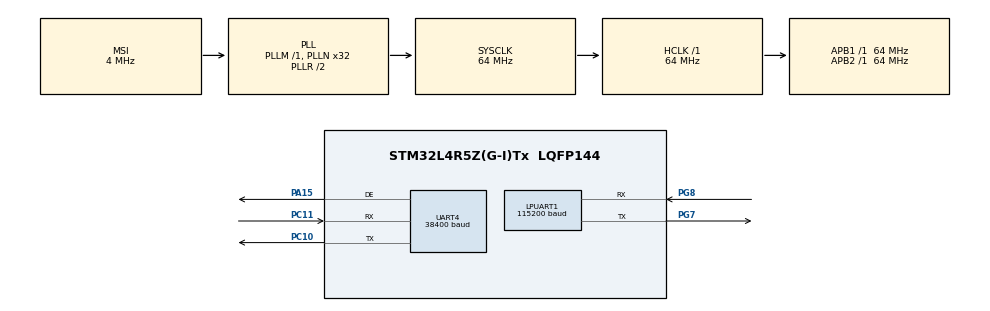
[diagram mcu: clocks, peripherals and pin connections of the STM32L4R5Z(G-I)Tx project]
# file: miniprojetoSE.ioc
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Mcu.Family=STM32L4
RCC.MSI_VALUE=4000000
PG8.Mode=Asynchronous
FREERTOS.Queues01=SR_Queue,64,1,1,Dynamic,NULL,NULL;BT_Queue,64,1,1,Dynamic,NULL,NULL
VP_SYS_VS_tim6.Mode=TIM6
RCC.CortexFreq_Value=64000000
FREERTOS.Tasks01=TransmitTask_Se,24,128,StartTransmitTask_Serial,Default,NULL,Dynamic,NULL,NULL;TransmitTask_BT,8,128,StartTransmitTask_BT,Default,NULL,Dynamic,NULL,NULL;PingTask,8,128,StartPingTask,Default,NULL,Dynamic,NULL,NULL
PG7.Signal=LPUART1_TX
NVIC.DMA1_Channel5_IRQn=true\:5\:0\:false\:false\:true\:false\:false\:true
PA13\ (JTMS/SWDIO).Mode=Trace_Asynchronous_SW
NVIC.TIM6_DAC_IRQn=true\:0\:0\:false\:false\:true\:false\:false\:true
PG8.Signal=LPUART1_RX
Dma.LPUART1_RX.0.RequestNumber=1
PC11.Signal=UART4_RX
PC10.Signal=UART4_TX
Dma.LPUART1_RX.0.MemDataAlignment=DMA_MDATAALIGN_BYTE
PC10.Mode=Asynchronous
LPUART1.WordLength=UART_WORDLENGTH_8B
PA15\ (JTDI).Signal=UART4_DE
Dma.LPUART1_RX.0.Direction=DMA_PERIPH_TO_MEMORY
Dma.LPUART1_RX.0.Instance=DMA1_Channel5
RCC.SYSCLKSource=RCC_SYSCLKSOURCE_PLLCLK
ProjectManager.StackSize=0x400
Dma.LPUART1_RX.0.PeriphInc=DMA_PINC_DISABLE
VP_FREERTOS_VS_CMSIS_V2.Mode=CMSIS_V2
PA15\ (JTDI).Mode=Hardware Flow Control (RS485)
PA14\ (JTCK/SWCLK).Signal=SYS_JTCK-SWCLK
PB3\ (JTDO/TRACESWO).Signal=SYS_JTDO-SWO
ProjectManager.TargetToolchain=STM32CubeIDE
UART4.BaudRate=38400
RCC.HCLKFreq_Value=64000000
RCC.APB2TimFreq_Value=64000000
PG7.Mode=Asynchronous
RCC.LSE_VALUE=32768
RCC.AHBFreq_Value=64000000
Dma.LPUART1_RX.0.PeriphDataAlignment=DMA_PDATAALIGN_BYTE
Dma.LPUART1_RX.0.Polarity=HAL_DMAMUX_REQUEST_GEN_RISING
RCC.HSE_VALUE=8000000
board=custom
RCC.VCOOutputFreq_Value=128000000
Dma.LPUART1_RX.0.MemInc=DMA_MINC_ENABLE
Dma.LPUART1_RX.0.SyncRequestNumber=1
Dma.LPUART1_RX.0.SyncPolarity=HAL_DMAMUX_SYNC_NO_EVENT
Dma.LPUART1_RX.0.SyncEnable=DISABLE
RCC.APB2Freq_Value=64000000
PA14\ (JTCK/SWCLK).Mode=Trace_Asynchronous_SW
Dma.LPUART1_RX.0.Priority=DMA_PRIORITY_LOW
Dma.LPUART1_RX.0.EventEnable=DISABLE
Mcu.Name=STM32L4R5Z(G-I)Tx
LPUART1.BaudRate=115200
RCC.SYSCLKFreq_VALUE=64000000
Mcu.Package=LQFP144
Dma.LPUART1_RX.0.Mode=DMA_CIRCULAR
NVIC.TimeBase=TIM6_DAC_IRQn
NVIC.TimeBaseIP=TIM6
Dma.LPUART1_RX.0.SignalID=NONE
ProjectManager.HeapSize=0x200
PC11.Mode=Asynchronous
RCC.HSI_VALUE=16000000
Dma.LPUART1_RX.0.SyncSignalID=NONE
NVIC.PriorityGroup=NVIC_PRIORITYGROUP_4
PB3\ (JTDO/TRACESWO).Mode=Trace_Asynchronous_SW
RCC.PLLN=32
RCC.APB1TimFreq_Value=64000000
Dma.Request0=LPUART1_RX
RCC.APB1Freq_Value=64000000
RCC.HSI48_VALUE=48000000
PA13\ (JTMS/SWDIO).Signal=SYS_JTMS-SWDIO
NVIC.UART4_IRQn=true\:5\:0\:false\:false\:true\:true\:true\:true

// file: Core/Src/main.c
/* USER CODE BEGIN Header */
/**
  ******************************************************************************
  * @file           : main.c
  * @brief          : Main program body
  ******************************************************************************
  * @attention
  *
  * <h2><center>&copy; Copyright (c) 2021 STMicroelectronics.
  * All rights reserved.</center></h2>
  *
  * This software component is licensed by ST under BSD 3-Clause license,
  * the "License"; You may not use this file except in compliance with the
  * License. You may obtain a copy of the License at:
  *                        opensource.org/licenses/BSD-3-Clause
  *
  ******************************************************************************
  */
/* USER CODE END Header */
#include "main.h"
#include "cmsis_os.h"

/* USER CODE BEGIN Includes */
#include <string.h>
#include <stdio.h>
/* USER CODE END Includes */

/* USER CODE BEGIN PD */
#define BUFFER_LEN 1
/* USER CODE END PD */

UART_HandleTypeDef hlpuart1;
UART_HandleTypeDef huart4;
DMA_HandleTypeDef hdma_lpuart1_rx;

/* Definitions for TransmitTask_Se */
osThreadId_t TransmitTask_SeHandle;
const osThreadAttr_t TransmitTask_Se_attributes = {
  .name = "TransmitTask_Se",
  .stack_size = 128 * 4,
  .priority = (osPriority_t) osPriorityNormal,
};
/* Definitions for TransmitTask_BT */
osThreadId_t TransmitTask_BTHandle;
const osThreadAttr_t TransmitTask_BT_attributes = {
  .name = "TransmitTask_BT",
  .stack_size = 128 * 4,
  .priority = (osPriority_t) osPriorityLow,
};
/* Definitions for PingTask */
osThreadId_t PingTaskHandle;
const osThreadAttr_t PingTask_attributes = {
  .name = "PingTask",
  .stack_size = 128 * 4,
  .priority = (osPriority_t) osPriorityLow,
};
/* Definitions for SR_Queue */
osMessageQueueId_t SR_QueueHandle;
const osMessageQueueAttr_t SR_Queue_attributes = {
  .name = "SR_Queue"
};
/* Definitions for BT_Queue */
osMessageQueueId_t BT_QueueHandle;
const osMessageQueueAttr_t BT_Queue_attributes = {
  .name = "BT_Queue"
};
/* USER CODE BEGIN PV */

uint8_t BT_BUFFER[BUFFER_LEN];
uint8_t SR_BUFFER[BUFFER_LEN] = "";

/* USER CODE END PV */

void SystemClock_Config(void);
static void MX_GPIO_Init(void);
static void MX_DMA_Init(void);
static void MX_LPUART1_UART_Init(void);
static void MX_UART4_Init(void);
void StartTransmitTask_Serial(void *argument);
void StartTransmitTask_BT(void *argument);
void StartPingTask(void *argument);

int main(void)
{

  /* MCU Configuration--------------------------------------------------------*/

  /* Reset of all peripherals, Initializes the Flash interface and the Systick. */
  HAL_Init();

  /* Configure the system clock */
  SystemClock_Config();

  /* Initialize all configured peripherals */
  MX_GPIO_Init();
  MX_DMA_Init();
  MX_LPUART1_UART_Init();
  MX_UART4_Init();
  /* USER CODE BEGIN 2 */
  HAL_UART_Receive_DMA (&hlpuart1, SR_BUFFER, BUFFER_LEN);
  HAL_UART_Receive_IT(&huart4, BT_BUFFER, BUFFER_LEN);

  /* USER CODE END 2 */

  /* Init scheduler */
  osKernelInitialize();

  /* Create the queue(s) */
  /* creation of SR_Queue */
  SR_QueueHandle = osMessageQueueNew (64, 1, &SR_Queue_attributes);

  /* creation of BT_Queue */
  BT_QueueHandle = osMessageQueueNew (64, 1, &BT_Queue_attributes);

  /* Create the thread(s) */
  /* creation of TransmitTask_Se */
  TransmitTask_SeHandle = osThreadNew(StartTransmitTask_Serial, NULL, &TransmitTask_Se_attributes);

  /* creation of TransmitTask_BT */
  TransmitTask_BTHandle = osThreadNew(StartTransmitTask_BT, NULL, &TransmitTask_BT_attributes);

  /* creation of PingTask */
  PingTaskHandle = osThreadNew(StartPingTask, NULL, &PingTask_attributes);

  /* Start scheduler */
  osKernelStart();

  /* We should never get here as control is now taken by the scheduler */
  /* Infinite loop */
  while (1)
  {

  }
}

void SystemClock_Config(void)
{
  RCC_OscInitTypeDef RCC_OscInitStruct = {0};
  RCC_ClkInitTypeDef RCC_ClkInitStruct = {0};
  RCC_PeriphCLKInitTypeDef PeriphClkInit = {0};

  /** Configure the main internal regulator output voltage
  */
  if (HAL_PWREx_ControlVoltageScaling(PWR_REGULATOR_VOLTAGE_SCALE1) != HAL_OK)
  {
    Error_Handler();
  }
  /** Initializes the RCC Oscillators according to the specified parameters
  * in the RCC_OscInitTypeDef structure.
  */
  RCC_OscInitStruct.OscillatorType = RCC_OSCILLATORTYPE_MSI;
  RCC_OscInitStruct.MSIState = RCC_MSI_ON;
  RCC_OscInitStruct.MSICalibrationValue = 0;
  RCC_OscInitStruct.MSIClockRange = RCC_MSIRANGE_6;
  RCC_OscInitStruct.PLL.PLLState = RCC_PLL_ON;
  RCC_OscInitStruct.PLL.PLLSource = RCC_PLLSOURCE_MSI;
  RCC_OscInitStruct.PLL.PLLM = 1;
  RCC_OscInitStruct.PLL.PLLN = 32;
  RCC_OscInitStruct.PLL.PLLP = RCC_PLLP_DIV2;
  RCC_OscInitStruct.PLL.PLLQ = RCC_PLLQ_DIV2;
  RCC_OscInitStruct.PLL.PLLR = RCC_PLLR_DIV2;
  if (HAL_RCC_OscConfig(&RCC_OscInitStruct) != HAL_OK)
  {
    Error_Handler();
  }
  /** Initializes the CPU, AHB and APB buses clocks
  */
  RCC_ClkInitStruct.ClockType = RCC_CLOCKTYPE_HCLK|RCC_CLOCKTYPE_SYSCLK
                              |RCC_CLOCKTYPE_PCLK1|RCC_CLOCKTYPE_PCLK2;
  RCC_ClkInitStruct.SYSCLKSource = RCC_SYSCLKSOURCE_PLLCLK;
  RCC_ClkInitStruct.AHBCLKDivider = RCC_SYSCLK_DIV1;
  RCC_ClkInitStruct.APB1CLKDivider = RCC_HCLK_DIV1;
  RCC_ClkInitStruct.APB2CLKDivider = RCC_HCLK_DIV1;

  if (HAL_RCC_ClockConfig(&RCC_ClkInitStruct, FLASH_LATENCY_3) != HAL_OK)
  {
    Error_Handler();
  }
  PeriphClkInit.PeriphClockSelection = RCC_PERIPHCLK_UART4|RCC_PERIPHCLK_LPUART1;
  PeriphClkInit.Uart4ClockSelection = RCC_UART4CLKSOURCE_PCLK1;
  PeriphClkInit.Lpuart1ClockSelection = RCC_LPUART1CLKSOURCE_PCLK1;
  if (HAL_RCCEx_PeriphCLKConfig(&PeriphClkInit) != HAL_OK)
  {
    Error_Handler();
  }
}

static void MX_LPUART1_UART_Init(void)
{

  hlpuart1.Instance = LPUART1;
  hlpuart1.Init.BaudRate = 115200;
  hlpuart1.Init.WordLength = UART_WORDLENGTH_8B;
  hlpuart1.Init.StopBits = UART_STOPBITS_1;
  hlpuart1.Init.Parity = UART_PARITY_NONE;
  hlpuart1.Init.Mode = UART_MODE_TX_RX;
  hlpuart1.Init.HwFlowCtl = UART_HWCONTROL_NONE;
  hlpuart1.Init.OneBitSampling = UART_ONE_BIT_SAMPLE_DISABLE;
  hlpuart1.Init.ClockPrescaler = UART_PRESCALER_DIV1;
  hlpuart1.AdvancedInit.AdvFeatureInit = UART_ADVFEATURE_NO_INIT;
  hlpuart1.FifoMode = UART_FIFOMODE_DISABLE;
  if (HAL_UART_Init(&hlpuart1) != HAL_OK)
  {
    Error_Handler();
  }
  if (HAL_UARTEx_SetTxFifoThreshold(&hlpuart1, UART_TXFIFO_THRESHOLD_1_8) != HAL_OK)
  {
    Error_Handler();
  }
  if (HAL_UARTEx_SetRxFifoThreshold(&hlpuart1, UART_RXFIFO_THRESHOLD_1_8) != HAL_OK)
  {
    Error_Handler();
  }
  if (HAL_UARTEx_DisableFifoMode(&hlpuart1) != HAL_OK)
  {
    Error_Handler();
  }

}

static void MX_UART4_Init(void)
{

  huart4.Instance = UART4;
  huart4.Init.BaudRate = 38400;
  huart4.Init.WordLength = UART_WORDLENGTH_8B;
  huart4.Init.StopBits = UART_STOPBITS_1;
  huart4.Init.Parity = UART_PARITY_NONE;
  huart4.Init.Mode = UART_MODE_TX_RX;
  huart4.Init.HwFlowCtl = UART_HWCONTROL_NONE;
  huart4.Init.OverSampling = UART_OVERSAMPLING_16;
  huart4.Init.OneBitSampling = UART_ONE_BIT_SAMPLE_DISABLE;
  huart4.Init.ClockPrescaler = UART_PRESCALER_DIV1;
  huart4.AdvancedInit.AdvFeatureInit = UART_ADVFEATURE_NO_INIT;
  huart4.FifoMode = UART_FIFOMODE_DISABLE;
  if (HAL_RS485Ex_Init(&huart4, UART_DE_POLARITY_HIGH, 0, 0) != HAL_OK)
  {
    Error_Handler();
  }
  if (HAL_UARTEx_SetTxFifoThreshold(&huart4, UART_TXFIFO_THRESHOLD_1_8) != HAL_OK)
  {
    Error_Handler();
  }
  if (HAL_UARTEx_SetRxFifoThreshold(&huart4, UART_RXFIFO_THRESHOLD_1_8) != HAL_OK)
  {
    Error_Handler();
  }
  if (HAL_UARTEx_DisableFifoMode(&huart4) != HAL_OK)
  {
    Error_Handler();
  }

}

static void MX_DMA_Init(void)
{

  /* DMA controller clock enable */
  __HAL_RCC_DMAMUX1_CLK_ENABLE();
  __HAL_RCC_DMA1_CLK_ENABLE();

  /* DMA interrupt init */
  /* DMA1_Channel5_IRQn interrupt configuration */
  HAL_NVIC_SetPriority(DMA1_Channel5_IRQn, 5, 0);
  HAL_NVIC_EnableIRQ(DMA1_Channel5_IRQn);

}

static void MX_GPIO_Init(void)
{

  /* GPIO Ports Clock Enable */
  __HAL_RCC_GPIOG_CLK_ENABLE();
  HAL_PWREx_EnableVddIO2();
  __HAL_RCC_GPIOA_CLK_ENABLE();
  __HAL_RCC_GPIOC_CLK_ENABLE();
  __HAL_RCC_GPIOB_CLK_ENABLE();

}

/* USER CODE BEGIN 4 */
void HAL_UART_RxCpltCallback(UART_HandleTypeDef *huart){
	if(huart == &hlpuart1){
		osMessageQueuePut(SR_QueueHandle, SR_BUFFER, 0, 0);
		HAL_UART_Receive_DMA(&hlpuart1, SR_BUFFER, BUFFER_LEN);
	}
	if(huart->Instance == huart4.Instance){
		osMessageQueuePut(BT_QueueHandle, BT_BUFFER, 0, 0);
		HAL_UART_Receive_IT(&huart4, BT_BUFFER, BUFFER_LEN);
	}
}
/* USER CODE END 4 */

void StartTransmitTask_Serial(void *argument)
{
  /* USER CODE BEGIN 5 */
  /* Infinite loop */
	char msg_sr[64];
	uint16_t count_sr = 0;
	char c[1];

  /* Infinite loop */
	for(;;)
	{
		memset(msg_sr,0,64);
		count_sr = osMessageQueueGetCount(SR_QueueHandle);
		if(count_sr > 0){
			for (int i = 0; i < count_sr; i++) {
				osMessageQueueGet(SR_QueueHandle, c, 0, 100);
				strncat(msg_sr, c, 1);
			}
			HAL_UART_Transmit(&huart4, (uint8_t *)msg_sr, sizeof(msg_sr), 100);
			HAL_UART_Transmit(&hlpuart1, (uint8_t *)msg_sr, sizeof(msg_sr), 100);
		}
		osDelay(100);
	}
  /* USER CODE END 5 */
}

void StartTransmitTask_BT(void *argument)
{
  /* USER CODE BEGIN StartTransmitTask_BT */

	char msg_bt[64];
	uint16_t count_bt = 0;
	char b[1];
  /* Infinite loop */
	for(;;)
	{
		memset(msg_bt,0,64);
		count_bt = osMessageQueueGetCount(BT_QueueHandle);
		if(count_bt > 0){
			for (int j = 0; j < count_bt; j++) {
				osMessageQueueGet(BT_QueueHandle, b, 0, 100);
				strncat(msg_bt,b,1);
			}
			HAL_UART_Transmit(&huart4, (uint8_t *)msg_bt, sizeof(msg_bt), 100);
			HAL_UART_Transmit(&hlpuart1, (uint8_t *)msg_bt, sizeof(msg_bt), 100);
		}
		osDelay(100);
	}
  /* USER CODE END StartTransmitTask_BT */
}

void StartPingTask(void *argument)
{
  /* USER CODE BEGIN StartPingTask */
	uint8_t msg[7] = "543210\n";
  /* Infinite loop */
  for(;;)
  {
	HAL_UART_Transmit(&huart4, msg, 7, 100);
    osDelay(5000);
  }
  /* USER CODE END StartPingTask */
}

 /**
  * @brief  Period elapsed callback in non blocking mode
  * @note   This function is called  when TIM6 interrupt took place, inside
  * HAL_TIM_IRQHandler(). It makes a direct call to HAL_IncTick() to increment
  * a global variable "uwTick" used as application time base.
  * @param  htim : TIM handle
  * @retval None
  */
void HAL_TIM_PeriodElapsedCallback(TIM_HandleTypeDef *htim)
{
  if (htim->Instance == TIM6) {
    HAL_IncTick();
  }
}

void Error_Handler(void)
{
  __disable_irq();
  while (1)
  {
  }
}

/************************ (C) COPYRIGHT STMicroelectronics *****END OF FILE****/
